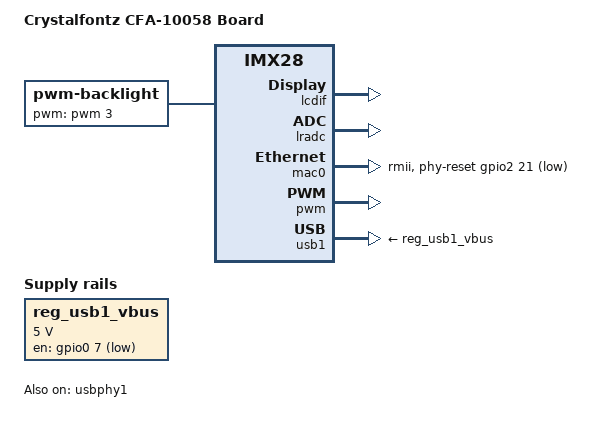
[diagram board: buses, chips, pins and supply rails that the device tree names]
// SPDX-License-Identifier: GPL-2.0-or-later
/*
 * Copyright 2013 Crystalfontz America, Inc.
 * Copyright 2013 Free Electrons
 */

/*
 * The CFA-10058 is an expansion board for the CFA-10036 module, thus we
 * need to include the CFA-10036 DTS.
 */
#include "imx28-cfa10036.dts"

/ {
	model = "Crystalfontz CFA-10058 Board";
	compatible = "crystalfontz,cfa10058", "crystalfontz,cfa10036", "fsl,imx28";

	regulators {
		compatible = "simple-bus";
		#address-cells = <1>;
		#size-cells = <0>;

		reg_usb1_vbus: regulator@0 {
			pinctrl-names = "default";
			pinctrl-0 = <&usb_pins_cfa10058>;
			compatible = "regulator-fixed";
			reg = <0>;
			regulator-name = "usb1_vbus";
			regulator-min-microvolt = <5000000>;
			regulator-max-microvolt = <5000000>;
			gpio = <&gpio0 7 1>;
		};
	};

	backlight {
		compatible = "pwm-backlight";
		pwms = <&pwm 3 5000000>;
		brightness-levels = <0 4 8 16 32 64 128 255>;
		default-brightness-level = <6>;
	};
};

&lcdif {
	pinctrl-names = "default";
	pinctrl-0 = <&lcdif_24bit_pins_a
			 &lcdif_pins_cfa10058>;
	display = <&display0>;
	status = "okay";

	display0: display0 {
		bits-per-pixel = <32>;
		bus-width = <24>;

		display-timings {
			native-mode = <&timing0>;
			timing0: timing0 {
				clock-frequency = <30000000>;
				hactive = <800>;
				vactive = <480>;
				hback-porch = <40>;
				hfront-porch = <40>;
				vback-porch = <13>;
				vfront-porch = <29>;
				hsync-len = <8>;
				vsync-len = <8>;
				hsync-active = <0>;
				vsync-active = <0>;
				de-active = <1>;
				pixelclk-active = <1>;
			};
		};
	};
};

&lradc {
	fsl,lradc-touchscreen-wires = <4>;
	status = "okay";
};

&mac0 {
	phy-mode = "rmii";
	pinctrl-names = "default";
	pinctrl-0 = <&mac0_pins_a>;
	phy-reset-gpios = <&gpio2 21 GPIO_ACTIVE_LOW>;
	phy-reset-duration = <100>;
	status = "okay";
};

&pinctrl {
	usb_pins_cfa10058: usb-10058@0 {
		reg = <0>;
		fsl,pinmux-ids = <
			MX28_PAD_GPMI_D07__GPIO_0_7
		>;
		fsl,drive-strength = <MXS_DRIVE_4mA>;
		fsl,voltage = <MXS_VOLTAGE_HIGH>;
		fsl,pull-up = <MXS_PULL_DISABLE>;
	};

	lcdif_pins_cfa10058: lcdif-10058@0 {
		reg = <0>;
		fsl,pinmux-ids = <
			MX28_PAD_LCD_RD_E__LCD_VSYNC
			MX28_PAD_LCD_WR_RWN__LCD_HSYNC
			MX28_PAD_LCD_RS__LCD_DOTCLK
			MX28_PAD_LCD_CS__LCD_ENABLE
		>;
		fsl,drive-strength = <MXS_DRIVE_4mA>;
		fsl,voltage = <MXS_VOLTAGE_HIGH>;
		fsl,pull-up = <MXS_PULL_DISABLE>;
	};
};

&pwm {
	pinctrl-names = "default";
	pinctrl-0 = <&pwm3_pins_b>;
	status = "okay";
};

&usb1 {
	vbus-supply = <&reg_usb1_vbus>;
	pinctrl-0 = <&usb1_pins_a>;
	pinctrl-names = "default";
	status = "okay";
};

&usbphy1 {
	status = "okay";
};
